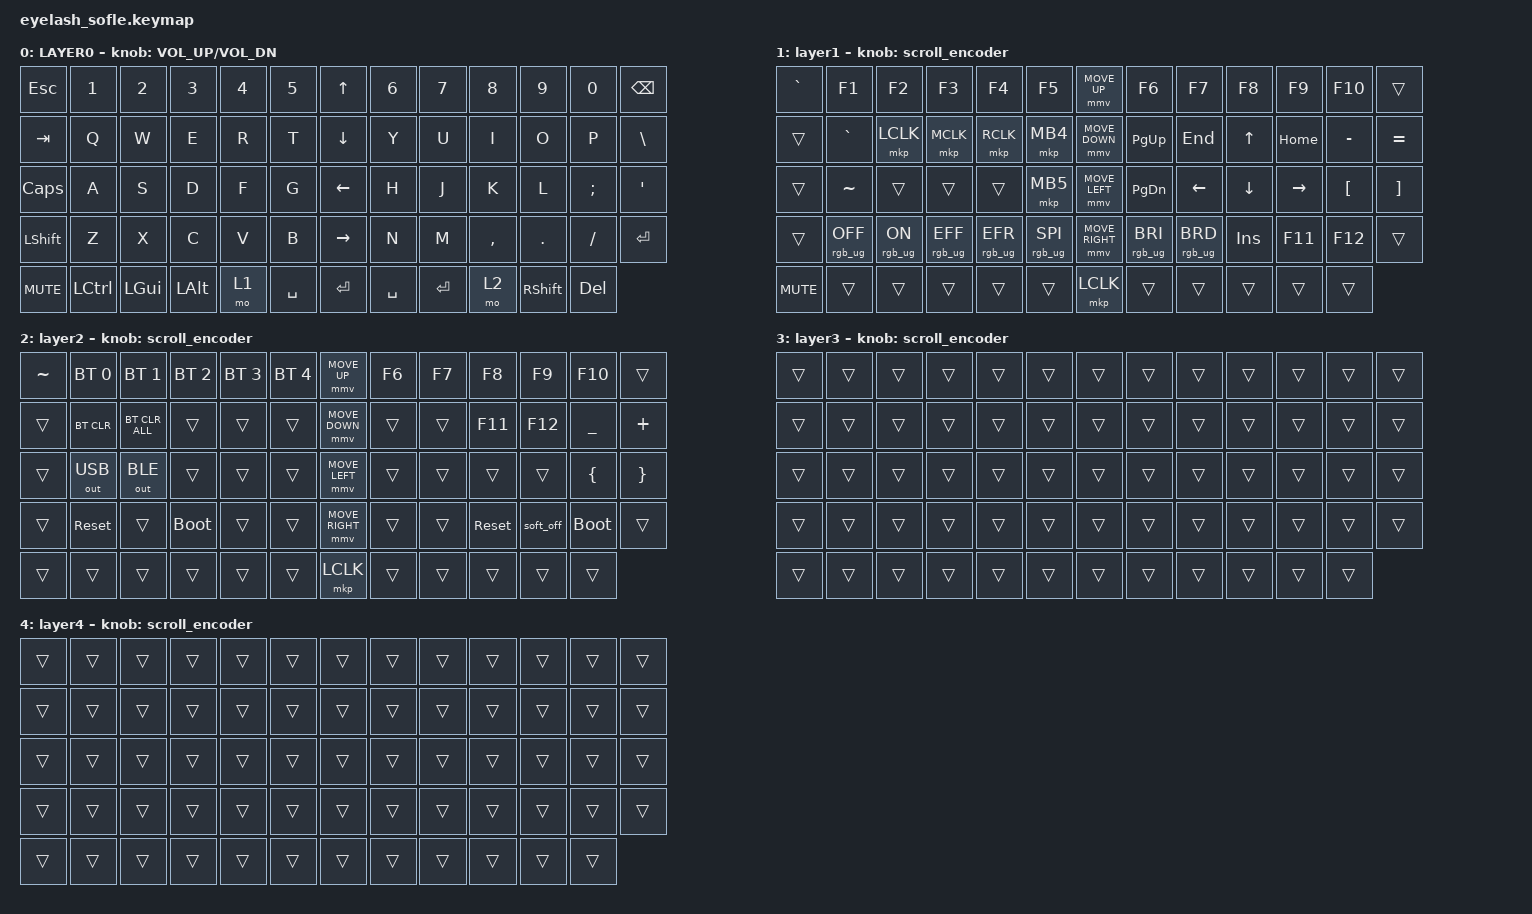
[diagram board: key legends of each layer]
#define ZMK_POINTING_DEFAULT_MOVE_VAL 1200  // 600
#define ZMK_POINTING_DEFAULT_SCRL_VAL 25   // 10

#include <input/processors.dtsi>
#include <zephyr/dt-bindings/input/input-event-codes.h>
#include <behaviors.dtsi>
#include <dt-bindings/zmk/bt.h>
#include <dt-bindings/zmk/keys.h>
#include <dt-bindings/zmk/outputs.h>
#include <dt-bindings/zmk/pointing.h>
#include <dt-bindings/zmk/rgb.h>

&mmv_input_listener { input-processors = <&zip_xy_scaler 2 1>; };

&msc_input_listener { input-processors = <&zip_scroll_scaler 2 1>; };

&msc {
    acceleration-exponent = <1>;      // 0
    time-to-max-speed-ms = <100>;       // 300
    delay-ms = <0>;                   // 0
};

&mmv {
    time-to-max-speed-ms = <500>;
    acceleration-exponent = <1>;
    trigger-period-ms = <16>;
};

&soft_off { hold-time-ms = <2000>; };

/ {
    scroll_encoder: scroll_encoder {
        compatible = "zmk,behavior-sensor-rotate";
        #sensor-binding-cells = <0>;
        bindings = <&msc SCRL_DOWN>, <&msc SCRL_UP>;

        tap-ms = <100>;
    };

    behaviors {
    };

    combos {
        compatible = "zmk,combos";

        softoff {
            bindings = <&soft_off>;
            key-positions = <14 28 40>;
        };
    };

    macros {
        SHIFT_MCLK: SHIFT_MCLK {
            compatible = "zmk,behavior-macro";
            #binding-cells = <0>;
            bindings =
                <&macro_press>,
                <&kp LEFT_SHIFT>,
                <&macro_press>,
                <&mkp MB3>,
                <&macro_pause_for_release>,
                <&macro_release>,
                <&kp LEFT_SHIFT &mkp MB3>;

            label = "SHIFT_MCLK";
        };

        // desk-switch (~/projects/tools/desk-switch): the Mac that has the keyboard
        // catches the hotkey and moves the monitor and mouse; the wait gives the key
        // release time to reach that Mac before the keyboard changes Bluetooth profile.
        to_personal: to_personal {
            compatible = "zmk,behavior-macro";
            #binding-cells = <0>;
            display-name = "To Personal Mac";
            tap-ms = <40>;
            wait-ms = <150>;
            bindings = <&macro_tap &kp F18>, <&macro_tap &bt BT_SEL 1>;
        };

        to_work: to_work {
            compatible = "zmk,behavior-macro";
            #binding-cells = <0>;
            display-name = "To Work Mac";
            tap-ms = <40>;
            wait-ms = <150>;
            bindings = <&macro_tap &kp F19>, <&macro_tap &bt BT_SEL 2>;
        };
    };

    keymap {
        compatible = "zmk,keymap";

        layer0 {
            bindings = <
&kp ESC     &kp N1     &kp N2        &kp N3        &kp N4  &kp N5       &kp UP_ARROW     &kp N6     &kp N7     &kp N8     &kp N9           &kp N0      &kp BACKSPACE
&kp TAB     &kp Q      &kp W         &kp E         &kp R   &kp T        &kp DOWN_ARROW   &kp Y      &kp U      &kp I      &kp O            &kp P       &kp BSLH
&kp CAPS    &kp A      &kp S         &kp D         &kp F   &kp G        &kp LEFT_ARROW   &kp H      &kp J      &kp K      &kp L            &kp SEMI    &kp APOS
&kp LSHFT   &kp Z      &kp X         &kp C         &kp V   &kp B        &kp RIGHT_ARROW  &kp N      &kp M      &kp COMMA  &kp DOT          &kp FSLH    &kp ENTER
&kp C_MUTE  &kp LCTRL  &kp LEFT_GUI  &kp LEFT_ALT  &mo 1   &kp SPACE    &kp ENTER        &kp SPACE  &kp ENTER  &mo 2      &kp RIGHT_SHIFT  &kp DELETE
            >;

            sensor-bindings = <&inc_dec_kp C_VOLUME_UP C_VOL_DN>;
            display-name = "LAYER0";
        };

        layer_1 {
            bindings = <
&kp GRAVE   &kp F1           &kp F2          &kp F3           &kp F4           &kp F5             &mmv MOVE_UP     &kp F6           &kp F7           &kp F8      &kp F9     &kp F10           &trans
&trans      &kp GRAVE        &mkp LCLK       &mkp MCLK        &mkp RCLK        &mkp MB4           &mmv MOVE_DOWN   &kp PG_UP        &kp END          &kp UP      &kp HOME   &kp MINUS         &kp EQUAL
&trans      &kp TILDE        &trans          &trans           &trans           &mkp MB5           &mmv MOVE_LEFT   &kp PG_DN        &kp LEFT         &kp DOWN    &kp RIGHT  &kp LEFT_BRACKET  &kp RIGHT_BRACKET
&trans      &rgb_ug RGB_OFF  &rgb_ug RGB_ON  &rgb_ug RGB_EFF  &rgb_ug RGB_EFR  &rgb_ug RGB_SPI    &mmv MOVE_RIGHT  &rgb_ug RGB_BRI  &rgb_ug RGB_BRD  &kp INSERT  &kp F11    &kp F12           &trans
&kp C_MUTE  &trans           &trans          &trans           &trans           &trans             &mkp LCLK        &trans           &trans           &trans      &trans     &trans
            >;

            display-name = "layer1";
            sensor-bindings = <&scroll_encoder>;
        };

        layer_2 {
            bindings = <
&kp TILDE  &bt BT_SEL 0  &bt BT_SEL 1    &bt BT_SEL 2  &bt BT_SEL 3  &bt BT_SEL 4    &mmv MOVE_UP     &kp F6  &kp F7  &kp F8      &kp F9     &kp F10      &trans
&trans     &bt BT_CLR    &bt BT_CLR_ALL  &trans        &trans        &trans          &mmv MOVE_DOWN   &trans  &trans  &kp F11     &kp F12    &kp UNDER    &kp PLUS
&trans     &out OUT_USB  &out OUT_BLE    &trans        &trans        &trans          &mmv MOVE_LEFT   &trans  &trans  &trans      &trans     &kp LBRC     &kp RBRC
&trans     &sys_reset    &trans          &bootloader   &trans        &trans          &mmv MOVE_RIGHT  &trans  &trans  &sys_reset  &soft_off  &bootloader  &trans
&trans     &trans        &trans          &trans        &trans        &trans          &mkp LCLK        &trans  &trans  &trans      &trans     &trans
            >;

            display-name = "layer2";
            sensor-bindings = <&scroll_encoder>;
        };

        layer_3 {
            bindings = <
&trans  &trans  &trans  &trans  &trans  &trans    &trans  &trans  &trans  &trans  &trans  &trans  &trans
&trans  &trans  &trans  &trans  &trans  &trans    &trans  &trans  &trans  &trans  &trans  &trans  &trans
&trans  &trans  &trans  &trans  &trans  &trans    &trans  &trans  &trans  &trans  &trans  &trans  &trans
&trans  &trans  &trans  &trans  &trans  &trans    &trans  &trans  &trans  &trans  &trans  &trans  &trans
&trans  &trans  &trans  &trans  &trans  &trans    &trans  &trans  &trans  &trans  &trans  &trans
            >;

            display-name = "layer3";
            sensor-bindings = <&scroll_encoder>;
        };

        layer_4 {
            bindings = <
&trans  &trans  &trans  &trans  &trans  &trans    &trans  &trans  &trans  &trans  &trans  &trans  &trans
&trans  &trans  &trans  &trans  &trans  &trans    &trans  &trans  &trans  &trans  &trans  &trans  &trans
&trans  &trans  &trans  &trans  &trans  &trans    &trans  &trans  &trans  &trans  &trans  &trans  &trans
&trans  &trans  &trans  &trans  &trans  &trans    &trans  &trans  &trans  &trans  &trans  &trans  &trans
&trans  &trans  &trans  &trans  &trans  &trans    &trans  &trans  &trans  &trans  &trans  &trans
            >;

            display-name = "layer4";
            sensor-bindings = <&scroll_encoder>;
        };
    };
};
